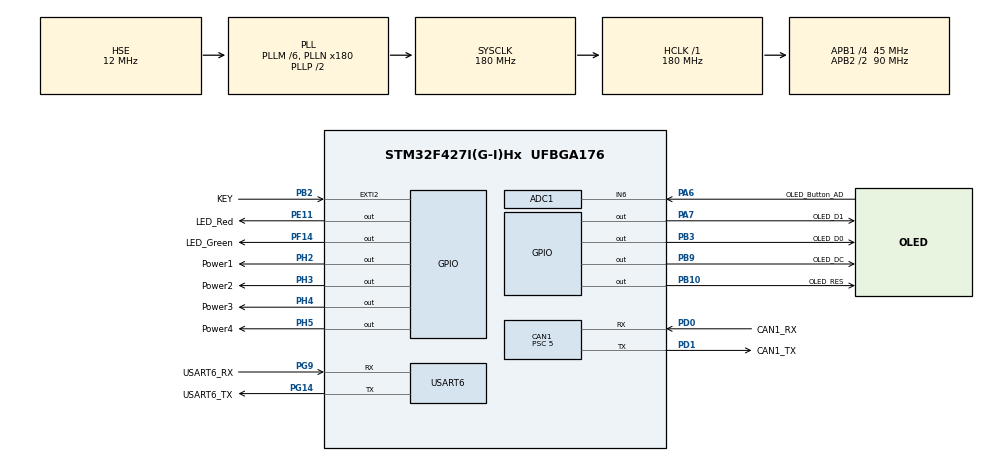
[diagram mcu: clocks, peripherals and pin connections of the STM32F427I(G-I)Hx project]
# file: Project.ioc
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ADC1.Channel-0\#ChannelRegularConversion=ADC_CHANNEL_6
ADC1.ContinuousConvMode=ENABLE
ADC1.InjNumberOfConversion=0
ADC1.NbrOfConversionFlag=1
ADC1.Rank-0\#ChannelRegularConversion=1
ADC1.SamplingTime-0\#ChannelRegularConversion=ADC_SAMPLETIME_3CYCLES
ADC1.master=1
CAN1.BS1=CAN_BS1_3TQ
CAN1.BS2=CAN_BS2_5TQ
CAN1.CalculateBaudRate=1000000
CAN1.CalculateTimeBit=1000
CAN1.CalculateTimeQuantum=111.11111111111111
CAN1.Prescaler=5
Mcu.Family=STM32F4
Mcu.Name=STM32F427I(G-I)Hx
Mcu.Package=UFBGA176
NVIC.ADC_IRQn=true\:0\:0\:false\:false\:true\:true\:true\:true
NVIC.CAN1_RX0_IRQn=true\:5\:0\:true\:false\:true\:true\:true\:true
NVIC.EXTI2_IRQn=true\:0\:0\:false\:false\:true\:true\:true\:true
NVIC.PriorityGroup=NVIC_PRIORITYGROUP_4
PA13.Mode=Serial_Wire
PA13.Signal=SYS_JTMS-SWDIO
PA14.Mode=Serial_Wire
PA14.Signal=SYS_JTCK-SWCLK
PA6.GPIO_Label=OLED_Button_AD
PA6.Signal=ADCx_IN6
PA7.GPIO_Label=OLED_D1
PA7.GPIO_PuPd=GPIO_PULLUP
PA7.GPIO_Speed=GPIO_SPEED_FREQ_HIGH
PA7.Signal=GPIO_Output
PB10.GPIO_Label=OLED_RES
PB10.GPIO_PuPd=GPIO_PULLUP
PB10.GPIO_Speed=GPIO_SPEED_FREQ_HIGH
PB10.Signal=GPIO_Output
PB2/BOOT1.GPIO_Label=KEY
PB2/BOOT1.GPIO_PuPd=GPIO_PULLDOWN
PB2/BOOT1.Signal=GPXTI2
PB3.GPIO_Label=OLED_D0
PB3.GPIO_PuPd=GPIO_PULLUP
PB3.GPIO_Speed=GPIO_SPEED_FREQ_HIGH
PB3.Signal=GPIO_Output
PB9.GPIO_Label=OLED_DC
PB9.GPIO_PuPd=GPIO_PULLUP
PB9.GPIO_Speed=GPIO_SPEED_FREQ_HIGH
PB9.Signal=GPIO_Output
PD0.GPIO_Label=CAN1_RX
PD0.Mode=CAN_Activate
PD0.Signal=CAN1_RX
PD1.GPIO_Label=CAN1_TX
PD1.Mode=CAN_Activate
PD1.Signal=CAN1_TX
PE11.GPIO_Label=LED_Red
PE11.GPIO_PuPd=GPIO_PULLUP
PE11.GPIO_Speed=GPIO_SPEED_FREQ_LOW
PE11.Signal=GPIO_Output
PF14.GPIO_Label=LED_Green
PF14.GPIO_PuPd=GPIO_PULLUP
PF14.GPIO_Speed=GPIO_SPEED_FREQ_LOW
PF14.Signal=GPIO_Output
PG14.GPIO_Label=USART6_TX
PG14.Mode=Asynchronous
PG14.Signal=USART6_TX
PG9.GPIO_Label=USART6_RX
PG9.GPIO_PuPd=GPIO_PULLDOWN
PG9.Mode=Asynchronous
PG9.Signal=USART6_RX
PH0/OSC_IN.Mode=HSE-External-Oscillator
PH0/OSC_IN.Signal=RCC_OSC_IN
PH1/OSC_OUT.Mode=HSE-External-Oscillator
PH1/OSC_OUT.Signal=RCC_OSC_OUT
PH2.GPIO_Label=Power1
PH2.GPIO_ModeDefaultOutputPP=GPIO_MODE_OUTPUT_PP
PH2.GPIO_PuPd=GPIO_PULLDOWN
PH2.GPIO_Speed=GPIO_SPEED_FREQ_LOW
PH2.PinState=GPIO_PIN_RESET
PH2.Signal=GPIO_Output
PH3.GPIO_Label=Power2
PH3.GPIO_ModeDefaultOutputPP=GPIO_MODE_OUTPUT_PP
PH3.GPIO_PuPd=GPIO_PULLDOWN
PH3.GPIO_Speed=GPIO_SPEED_FREQ_LOW
PH3.PinState=GPIO_PIN_RESET
PH3.Signal=GPIO_Output
PH4.GPIO_Label=Power3
PH4.GPIO_ModeDefaultOutputPP=GPIO_MODE_OUTPUT_PP
PH4.GPIO_PuPd=GPIO_PULLDOWN
PH4.GPIO_Speed=GPIO_SPEED_FREQ_LOW
PH4.PinState=GPIO_PIN_RESET
PH4.Signal=GPIO_Output
PH5.GPIO_Label=Power4
PH5.GPIO_ModeDefaultOutputPP=GPIO_MODE_OUTPUT_PP
PH5.GPIO_PuPd=GPIO_PULLDOWN
PH5.GPIO_Speed=GPIO_SPEED_FREQ_LOW
PH5.PinState=GPIO_PIN_RESET
PH5.Signal=GPIO_Output
ProjectManager.HeapSize=0x200
ProjectManager.StackSize=0x400
ProjectManager.TargetToolchain=MDK-ARM V5.32
RCC.48MHZClocksFreq_Value=90000000
RCC.AHBFreq_Value=180000000
RCC.APB1CLKDivider=RCC_HCLK_DIV4
RCC.APB1Freq_Value=45000000
RCC.APB1TimFreq_Value=90000000
RCC.APB2CLKDivider=RCC_HCLK_DIV2
RCC.APB2Freq_Value=90000000
RCC.APB2TimFreq_Value=180000000
RCC.CortexFreq_Value=180000000
RCC.HCLKFreq_Value=180000000
RCC.HSE_VALUE=12000000
RCC.HSI_VALUE=16000000
RCC.LSE_VALUE=32768
RCC.PLLM=6
RCC.PLLN=180
RCC.PLLSourceVirtual=RCC_PLLSOURCE_HSE
RCC.SYSCLKFreq_VALUE=180000000
RCC.SYSCLKSource=RCC_SYSCLKSOURCE_PLLCLK
RCC.VCOOutputFreq_Value=360000000
SH.ADCx_IN6.0=ADC1_IN6,IN6
USART6.VirtualMode=VM_ASYNC
board=custom

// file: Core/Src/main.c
/* USER CODE BEGIN Header */
/**
  ******************************************************************************
  * @file           : main.c
  * @brief          : Main program body
  ******************************************************************************
  * @attention
  *
  * Copyright (c) 2024 STMicroelectronics.
  * All rights reserved.
  *
  * This software is licensed under terms that can be found in the LICENSE file
  * in the root directory of this software component.
  * If no LICENSE file comes with this software, it is provided AS-IS.
  *
  ******************************************************************************
  */
/* USER CODE END Header */
#include "main.h"
#include "adc.h"
#include "can.h"
#include "usart.h"
#include "gpio.h"

void SystemClock_Config(void);

int main(void)
{

  /* MCU Configuration--------------------------------------------------------*/

  /* Reset of all peripherals, Initializes the Flash interface and the Systick. */
  HAL_Init();

  /* Configure the system clock */
  SystemClock_Config();

  /* Initialize all configured peripherals */
  MX_GPIO_Init();
  MX_ADC1_Init();
  MX_CAN1_Init();
  MX_USART6_UART_Init();
  /* USER CODE BEGIN 2 */
  Delay_Init(180);
  LED_Init();
  KEY_Init();
  OLED_Init();
  OLED_Button_Init();
  Power_Init();
  Motor_Preferred_Init();

  for(int i=0; i<4; i++)
  {
    Motor_PID_Init(&Motor_PID[i]);
    Motor_PID[i].F_Motor_PID_Param_Init(&Motor_PID[i], PID_DELTA, 16384, 5000, 10, 0, PID);
  }
  Motor_Data[0] = Get_Motor_Measure_Pointer(0);       //获取ID为1号的电机数据指针
  Motor_Data[1] = Get_Motor_Measure_Pointer(1);       //获取ID为2号的电机数据指针
  Motor_Data[2] = Get_Motor_Measure_Pointer(2);       //获取ID为3号的电机数据指针
  Motor_Data[3] = Get_Motor_Measure_Pointer(3);       //获取ID为4号的电机数据指针
  HAL_Delay(100);

  /* USER CODE END 2 */

  /* Infinite loop */
  /* USER CODE BEGIN WHILE */

  float t1 = 0;
  float t2 = 0;

  while (1)
  {
    /* USER CODE END WHILE */

    /* USER CODE BEGIN 3 */
    t1 += 0.1f;
    t2 += 0.5f;
    printf("simples:%f, %f\n", sin(t1), sin(t2));
    Delay_ms(100);
  }
  /* USER CODE END 3 */
}

void SystemClock_Config(void)
{
  RCC_OscInitTypeDef RCC_OscInitStruct = {0};
  RCC_ClkInitTypeDef RCC_ClkInitStruct = {0};

  /** Configure the main internal regulator output voltage
  */
  __HAL_RCC_PWR_CLK_ENABLE();
  __HAL_PWR_VOLTAGESCALING_CONFIG(PWR_REGULATOR_VOLTAGE_SCALE1);

  /** Initializes the RCC Oscillators according to the specified parameters
  * in the RCC_OscInitTypeDef structure.
  */
  RCC_OscInitStruct.OscillatorType = RCC_OSCILLATORTYPE_HSE;
  RCC_OscInitStruct.HSEState = RCC_HSE_ON;
  RCC_OscInitStruct.PLL.PLLState = RCC_PLL_ON;
  RCC_OscInitStruct.PLL.PLLSource = RCC_PLLSOURCE_HSE;
  RCC_OscInitStruct.PLL.PLLM = 6;
  RCC_OscInitStruct.PLL.PLLN = 180;
  RCC_OscInitStruct.PLL.PLLP = RCC_PLLP_DIV2;
  RCC_OscInitStruct.PLL.PLLQ = 4;
  if (HAL_RCC_OscConfig(&RCC_OscInitStruct) != HAL_OK)
  {
    Error_Handler();
  }

  /** Activate the Over-Drive mode
  */
  if (HAL_PWREx_EnableOverDrive() != HAL_OK)
  {
    Error_Handler();
  }

  /** Initializes the CPU, AHB and APB buses clocks
  */
  RCC_ClkInitStruct.ClockType = RCC_CLOCKTYPE_HCLK|RCC_CLOCKTYPE_SYSCLK
                              |RCC_CLOCKTYPE_PCLK1|RCC_CLOCKTYPE_PCLK2;
  RCC_ClkInitStruct.SYSCLKSource = RCC_SYSCLKSOURCE_PLLCLK;
  RCC_ClkInitStruct.AHBCLKDivider = RCC_SYSCLK_DIV1;
  RCC_ClkInitStruct.APB1CLKDivider = RCC_HCLK_DIV4;
  RCC_ClkInitStruct.APB2CLKDivider = RCC_HCLK_DIV2;

  if (HAL_RCC_ClockConfig(&RCC_ClkInitStruct, FLASH_LATENCY_5) != HAL_OK)
  {
    Error_Handler();
  }
}

void Error_Handler(void)
{
  __disable_irq();
  while (1)
  {
  }
}
